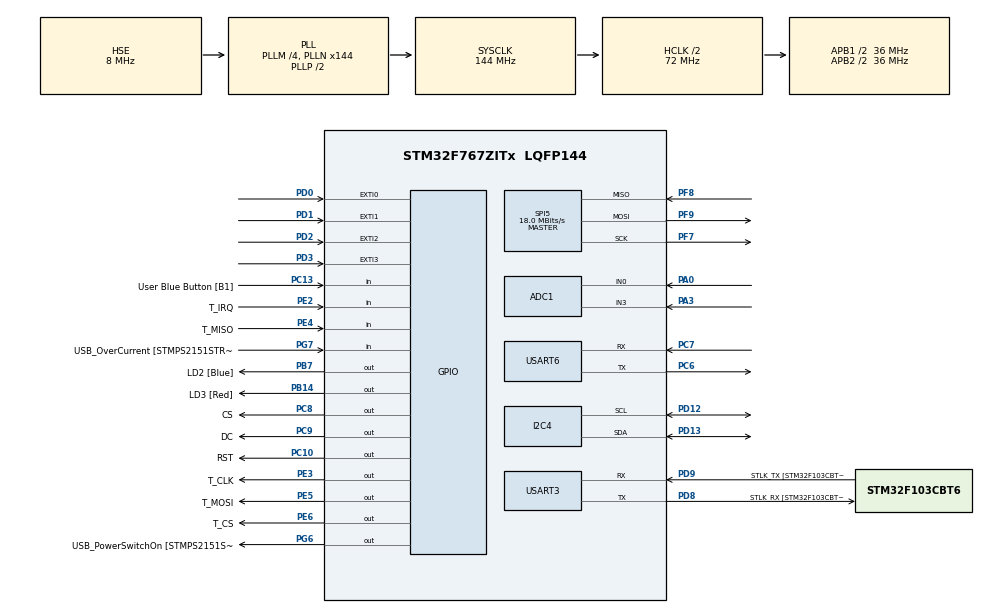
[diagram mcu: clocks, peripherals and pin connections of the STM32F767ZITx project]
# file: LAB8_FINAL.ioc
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ADC1.Channel-0\#ChannelRegularConversion=ADC_CHANNEL_0
ADC1.ContinuousConvMode=ENABLE
ADC1.EOCSelection=ADC_EOC_SEQ_CONV
ADC1.NbrOfConversionFlag=1
ADC1.Rank-0\#ChannelRegularConversion=1
ADC1.SamplingTime-0\#ChannelRegularConversion=ADC_SAMPLETIME_3CYCLES
ADC1.master=1
CORTEX_M7.ART_ACCLERATOR_ENABLE=1
CORTEX_M7.CPU_DCache=Enabled
CORTEX_M7.CPU_ICache=Enabled
CORTEX_M7.PREFETCH_ENABLE=1
I2C4.Timing=0x00808CD2
Mcu.Family=STM32F7
Mcu.Name=STM32F767ZITx
Mcu.Package=LQFP144
NVIC.EXTI0_IRQn=true\:2\:0\:true\:false\:true\:true\:true\:true
NVIC.EXTI1_IRQn=true\:2\:0\:true\:false\:true\:true\:true\:true
NVIC.EXTI2_IRQn=true\:2\:0\:true\:false\:true\:true\:true\:true
NVIC.EXTI3_IRQn=true\:2\:0\:true\:false\:true\:true\:true\:true
NVIC.PriorityGroup=NVIC_PRIORITYGROUP_2
NVIC.TIM1_UP_TIM10_IRQn=true\:3\:0\:true\:false\:true\:true\:true\:true
NVIC.USART6_IRQn=true\:1\:0\:true\:false\:true\:true\:true\:true
PA0/WKUP.Signal=ADCx_IN0
PA1.GPIO_Label=RMII_REF_CLK [LAN8742A-CZ-TR_REFCLK0]
PA1.Signal=ETH_REF_CLK
PA13.GPIO_Label=TMS
PA13.Mode=Serial_Wire
PA13.Signal=SYS_JTMS-SWDIO
PA14.GPIO_Label=TCK
PA14.Mode=Serial_Wire
PA14.Signal=SYS_JTCK-SWCLK
PA2.GPIO_Label=RMII_MDIO [LAN8742A-CZ-TR_MDIO]
PA2.Signal=ETH_MDIO
PA3.Signal=ADCx_IN3
PA7.GPIO_Label=RMII_CRS_DV [LAN8742A-CZ-TR_CRS_DV]
PA7.Signal=ETH_CRS_DV
PA8.Signal=S_TIM1_CH1
PB11.Signal=S_TIM2_CH4
PB13.GPIO_Label=RMII_TXD1 [LAN8742A-CZ-TR_TXD1]
PB13.Signal=ETH_TXD1
PB14.GPIO_Label=LD3 [Red]
PB14.Signal=GPIO_Output
PB3.GPIO_Label=SWO
PB3.Signal=SYS_JTDO-SWO
PB7.GPIO_Label=LD2 [Blue]
PB7.Signal=GPIO_Output
PC1.GPIO_Label=RMII_MDC [LAN8742A-CZ-TR_MDC]
PC1.Signal=ETH_MDC
PC10.GPIO_Label=RST
PC10.GPIO_Speed=GPIO_SPEED_FREQ_VERY_HIGH
PC10.Signal=GPIO_Output
PC13.GPIO_Label=User Blue Button [B1]
PC13.Signal=GPIO_Input
PC14/OSC32_IN.Mode=LSE-External-Oscillator
PC14/OSC32_IN.Signal=RCC_OSC32_IN
PC15/OSC32_OUT.Mode=LSE-External-Oscillator
PC15/OSC32_OUT.Signal=RCC_OSC32_OUT
PC4.GPIO_Label=RMII_RXD0 [LAN8742A-CZ-TR_RXD0]
PC4.Signal=ETH_RXD0
PC5.GPIO_Label=RMII_RXD1 [LAN8742A-CZ-TR_RXD1]
PC5.Signal=ETH_RXD1
PC6.GPIO_Speed=GPIO_SPEED_FREQ_VERY_HIGH
PC6.Mode=Asynchronous
PC6.Signal=USART6_TX
PC7.GPIO_Speed=GPIO_SPEED_FREQ_VERY_HIGH
PC7.Mode=Asynchronous
PC7.Signal=USART6_RX
PC8.GPIO_Label=CS
PC8.GPIO_Speed=GPIO_SPEED_FREQ_VERY_HIGH
PC8.Signal=GPIO_Output
PC9.GPIO_Label=DC
PC9.GPIO_Speed=GPIO_SPEED_FREQ_VERY_HIGH
PC9.Signal=GPIO_Output
PD0.Signal=GPXTI0
PD1.Signal=GPXTI1
PD12.Mode=I2C
PD12.Signal=I2C4_SCL
PD13.Mode=I2C
PD13.Signal=I2C4_SDA
PD2.Signal=GPXTI2
PD3.Signal=GPXTI3
PD8.GPIO_Label=STLK_RX [STM32F103CBT6_PA3]
PD8.Mode=Asynchronous
PD8.Signal=USART3_TX
PD9.GPIO_Label=STLK_TX [STM32F103CBT6_PA2]
PD9.Mode=Asynchronous
PD9.Signal=USART3_RX
PE2.GPIO_Label=T_IRQ
PE2.Signal=GPIO_Input
PE3.GPIO_Label=T_CLK
PE3.GPIO_Speed=GPIO_SPEED_FREQ_VERY_HIGH
PE3.Signal=GPIO_Output
PE4.GPIO_Label=T_MISO
PE4.Signal=GPIO_Input
PE5.GPIO_Label=T_MOSI
PE5.GPIO_Speed=GPIO_SPEED_FREQ_VERY_HIGH
PE5.Signal=GPIO_Output
PE6.GPIO_Label=T_CS
PE6.GPIO_Speed=GPIO_SPEED_FREQ_VERY_HIGH
PE6.Signal=GPIO_Output
PF7.Mode=Full_Duplex_Master
PF7.Signal=SPI5_SCK
PF8.Mode=Full_Duplex_Master
PF8.Signal=SPI5_MISO
PF9.Mode=Full_Duplex_Master
PF9.Signal=SPI5_MOSI
PG11.GPIO_Label=RMII_TX_EN [LAN8742A-CZ-TR_TXEN]
PG11.Signal=ETH_TX_EN
PG13.GPIO_Label=RMII_TXD0 [LAN8742A-CZ-TR_TXD0]
PG13.Signal=ETH_TXD0
PG6.GPIO_Label=USB_PowerSwitchOn [STMPS2151STR_EN]
PG6.Signal=GPIO_Output
PG7.GPIO_Label=USB_OverCurrent [STMPS2151STR_FAULT]
PG7.Signal=GPIO_Input
PH0/OSC_IN.GPIO_Label=MCO [STM32F103CBT6_PA8]
PH0/OSC_IN.Mode=HSE-External-Clock-Source
PH0/OSC_IN.Signal=RCC_OSC_IN
PH1/OSC_OUT.Mode=HSE-External-Clock-Source
PH1/OSC_OUT.Signal=RCC_OSC_OUT
ProjectManager.HeapSize=0x200
ProjectManager.StackSize=0x400
ProjectManager.TargetToolchain=STM32CubeIDE
RCC.48MHZClocksFreq_Value=24000000
RCC.AHBCLKDivider=RCC_SYSCLK_DIV2
RCC.AHBFreq_Value=72000000
RCC.APB1CLKDivider=RCC_HCLK_DIV2
RCC.APB1Freq_Value=36000000
RCC.APB1TimFreq_Value=72000000
RCC.APB2CLKDivider=RCC_HCLK_DIV2
RCC.APB2Freq_Value=36000000
RCC.APB2TimFreq_Value=72000000
RCC.CortexFreq_Value=72000000
RCC.HCLKFreq_Value=72000000
RCC.HSE_VALUE=8000000
RCC.HSI_VALUE=16000000
RCC.PLLM=4
RCC.PLLMUL=RCC_PLL_MUL9
RCC.PLLN=144
RCC.PLLQ=6
RCC.PLLSourceVirtual=RCC_PLLSOURCE_HSE
RCC.PRESCALERUSB=RCC_USBCLKSOURCE_PLL_DIV1_5
RCC.SYSCLKFreq_VALUE=144000000
RCC.SYSCLKSource=RCC_SYSCLKSOURCE_PLLCLK
RCC.SYSCLKSourceVirtual=RCC_SYSCLKSOURCE_PLLCLK
RCC.USBFreq_Value=48000000
RCC.VCOOutputFreq_Value=288000000
SH.ADCx_IN0.0=ADC1_IN0,IN0
SH.ADCx_IN3.0=ADC1_IN3,IN3
SH.S_TIM1_CH1.0=TIM1_CH1
SH.S_TIM2_CH4.0=TIM2_CH4
SPI5.CalculateBaudRate=18.0 MBits/s
SPI5.DataSize=SPI_DATASIZE_8BIT
SPI5.Direction=SPI_DIRECTION_2LINES
SPI5.Mode=SPI_MODE_MASTER
SPI5.NSSPMode=SPI_NSS_PULSE_DISABLE
SPI5.VirtualType=VM_MASTER
TIM1.Period=10000-1
TIM1.Prescaler=7200-1
TIM2.ClockDivision=TIM_CLOCKDIVISION_DIV1
TIM2.Period=60000
TIM2.Prescaler=9600
USART3.VirtualMode-Asynchronous=VM_ASYNC
USART6.VirtualMode-Asynchronous=VM_ASYNC
VP_RNG_VS_RNG.Mode=RNG_Activate
VP_TIM1_VS_ClockSourceINT.Mode=Internal
VP_TIM2_VS_ClockSourceINT.Mode=Internal
board=NUCLEO-F767ZI

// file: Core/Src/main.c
/* USER CODE BEGIN Header */
/**
 ******************************************************************************
 * @file           : main.c
 * @brief          : Main program body
 ******************************************************************************
 * @attention
 *
 * <h2><center>&copy; Copyright (c) 2021 STMicroelectronics.
 * All rights reserved.</center></h2>
 *
 * This software component is licensed by ST under BSD 3-Clause license,
 * the "License"; You may not use this file except in compliance with the
 * License. You may obtain a copy of the License at:
 *                        opensource.org/licenses/BSD-3-Clause
 *
 ******************************************************************************
 */
/* USER CODE END Header */
#include "main.h"
#include "adc.h"
#include "i2c.h"
#include "rng.h"
#include "spi.h"
#include "tim.h"
#include "usart.h"
#include "gpio.h"

/* USER CODE BEGIN Includes */
#include "stdio.h"
#include "ILI9341_Touchscreen.h"

#include "ILI9341_STM32_Driver.h"
#include "ILI9341_GFX.h"

#include "timer_screen.h"
#include "pause_screen.h"
#include "setup_screen.h"
#include "end_screen.h"
/* USER CODE END Includes */

/* USER CODE BEGIN PM */
#define print(x) HAL_UART_Transmit(&huart3, (uint8_t*)x, strlen(x),1000)
/* USER CODE END PM */

/* USER CODE BEGIN PV */
/* Private variables ---------------------------------------------------------*/
volatile uint32_t adc_val = 0;
int minuteA = 10;
int secondA = 0;
char toDec45[2];
int minuteB = 10;
int secondB = 0;
char timeString[10];
int state = 0;
int sendZero = 0;
int sendOne = 0;
int sendTwo = 0;
int swing = 1;
uint8_t playerSignal = 0; //0==white 1==black
uint8_t isBackgroundFill = 0; //0 == pause
uint8_t currentVal = 0; //0 == pause
uint8_t lastVal = 0; //0 == pause
char ch1;
/* USER CODE END PV */

void SystemClock_Config(void);
/* USER CODE BEGIN PFP */
/* Private function prototypes -----------------------------------------------*/

/* USER CODE END PFP */

/* USER CODE BEGIN 0 */
void displayTime(int minute, int second) {
	char toMinute[10];
	char toSecond[10];

	sprintf(toMinute, "%02d", minute);
	sprintf(toSecond, "%02d", second);
	sprintf(timeString, "%02d:%02d", minute, second);
//	print("\r");
//	print(timeString);
}
void display4096_to_45(uint32_t myNumber) {
	currentVal = (45 * myNumber) / 4096;
	if (currentVal != lastVal) {
		if (currentVal >= lastVal - swing && currentVal <= lastVal + swing) {
			// If it's within the swing range, don't update lastVal
		} else {
			lastVal = currentVal;
			sprintf(toDec45, "b%02d", lastVal);
//			print(toDec45);
//			print("\r\n");
			HAL_UART_Transmit(&huart6, (uint8_t*) toDec45, strlen(toDec45),
					1000);
		}
	}

}

/* USER CODE END 0 */

int main(void)
{

  /* Enable I-Cache---------------------------------------------------------*/
  SCB_EnableICache();

  /* Enable D-Cache---------------------------------------------------------*/
  SCB_EnableDCache();

  /* MCU Configuration--------------------------------------------------------*/

  /* Reset of all peripherals, Initializes the Flash interface and the Systick. */
  HAL_Init();

  /* Configure the system clock */
  SystemClock_Config();

  /* Initialize all configured peripherals */
  MX_GPIO_Init();
  MX_USART3_UART_Init();
  MX_SPI5_Init();
  MX_RNG_Init();
  MX_TIM2_Init();
  MX_I2C4_Init();
  MX_ADC1_Init();
  MX_TIM1_Init();
  MX_USART6_UART_Init();
  /* USER CODE BEGIN 2 */
	ILI9341_Init(); //initial driver setup to drive ili9341
	HAL_ADC_Start(&hadc1);
  /* USER CODE END 2 */

  /* Infinite loop */
	while (1) {

    /* USER CODE BEGIN 3 */
		while (HAL_ADC_PollForConversion(&hadc1, 100) != HAL_OK) {
		}
		adc_val = HAL_ADC_GetValue(&hadc1);
		display4096_to_45(adc_val);
//		while(__HAL_UART_GET_FLAG(&huart6,UART_FLAG_RXNE) == RESET){}
		HAL_UART_Receive(&huart6, (uint8_t*) &ch1, 1, 1000);
//		HAL_UART_Receive(&huart3, (uint8_t*) &ch1, 1, 1000);
		print(ch1);
		if (ch1 == '0') {
			playerSignal = 0;
		} else if (ch1 == '1') {
			playerSignal = 1;
		}

		if (state != 1) {
			isBackgroundFill = 0;
		}

		if (state == 0) {
			ILI9341_Draw_Image((const char*) image_data_setup,
			SCREEN_VERTICAL_2);
			minuteA = 10;
			secondA = 0;
			minuteB = 10;
			secondB = 0;
			sendTwo = 0;

			if (sendZero == 0) {
				//send 0
				//print("0");
				HAL_UART_Transmit(&huart6, (uint8_t*) "000", 3, 1000);
				sendZero = 1;
			}
		} else if (state == 1) {
			sendTwo = 0;
			if (sendOne == 0) {
				//print("1");
				print("111 issend");
				HAL_UART_Transmit(&huart6, (uint8_t*) "111", 3, 1000);
				sendOne = 1;
			}
			//send 1
			HAL_TIM_Base_Start_IT(&htim1);
			if (isBackgroundFill == 0) {

				ILI9341_Draw_Image((const char*) image_data_tot,
						SCREEN_VERTICAL_2);
				isBackgroundFill = 1;
			}
			displayTime(minuteA, secondA);
			ILI9341_Set_Rotation(SCREEN_HORIZONTAL_2);
			ILI9341_Draw_Text(timeString, 40, 140, WHITE, 3, BLACK);
			displayTime(minuteB, secondB);
			ILI9341_Draw_Text(timeString, 180, 140, WHITE, 3, BLACK);
		} else if (state == 2) { //PAUSE
			sendOne = 0;
			if (sendTwo == 0) {
							//print("2");
							HAL_UART_Transmit(&huart6, (uint8_t*) "222", 3, 1000);
							sendTwo = 1;
						}
			HAL_TIM_Base_Stop_IT(&htim1);
			ILI9341_Draw_Image((const char*) image_data_pause,
			SCREEN_VERTICAL_2);
		} else if (state == 3) {
			//Picture
			if (sendTwo == 0) {
										//print("2");
										HAL_UART_Transmit(&huart6, (uint8_t*) "222", 3, 1000);
										sendTwo = 1;
									}
			ILI9341_Draw_Image((const char*) image_data_end, SCREEN_VERTICAL_2);

		}

	}
  /* USER CODE END 3 */
}

void SystemClock_Config(void)
{
  RCC_OscInitTypeDef RCC_OscInitStruct = {0};
  RCC_ClkInitTypeDef RCC_ClkInitStruct = {0};

  /** Configure LSE Drive Capability
  */
  HAL_PWR_EnableBkUpAccess();

  /** Configure the main internal regulator output voltage
  */
  __HAL_RCC_PWR_CLK_ENABLE();
  __HAL_PWR_VOLTAGESCALING_CONFIG(PWR_REGULATOR_VOLTAGE_SCALE3);

  /** Initializes the RCC Oscillators according to the specified parameters
  * in the RCC_OscInitTypeDef structure.
  */
  RCC_OscInitStruct.OscillatorType = RCC_OSCILLATORTYPE_HSE;
  RCC_OscInitStruct.HSEState = RCC_HSE_BYPASS;
  RCC_OscInitStruct.PLL.PLLState = RCC_PLL_ON;
  RCC_OscInitStruct.PLL.PLLSource = RCC_PLLSOURCE_HSE;
  RCC_OscInitStruct.PLL.PLLM = 4;
  RCC_OscInitStruct.PLL.PLLN = 144;
  RCC_OscInitStruct.PLL.PLLP = RCC_PLLP_DIV2;
  RCC_OscInitStruct.PLL.PLLQ = 6;
  RCC_OscInitStruct.PLL.PLLR = 2;
  if (HAL_RCC_OscConfig(&RCC_OscInitStruct) != HAL_OK)
  {
    Error_Handler();
  }

  /** Initializes the CPU, AHB and APB buses clocks
  */
  RCC_ClkInitStruct.ClockType = RCC_CLOCKTYPE_HCLK|RCC_CLOCKTYPE_SYSCLK
                              |RCC_CLOCKTYPE_PCLK1|RCC_CLOCKTYPE_PCLK2;
  RCC_ClkInitStruct.SYSCLKSource = RCC_SYSCLKSOURCE_PLLCLK;
  RCC_ClkInitStruct.AHBCLKDivider = RCC_SYSCLK_DIV2;
  RCC_ClkInitStruct.APB1CLKDivider = RCC_HCLK_DIV2;
  RCC_ClkInitStruct.APB2CLKDivider = RCC_HCLK_DIV2;

  if (HAL_RCC_ClockConfig(&RCC_ClkInitStruct, FLASH_LATENCY_2) != HAL_OK)
  {
    Error_Handler();
  }
}

void Error_Handler(void)
{
	while (1) {
	}
}
